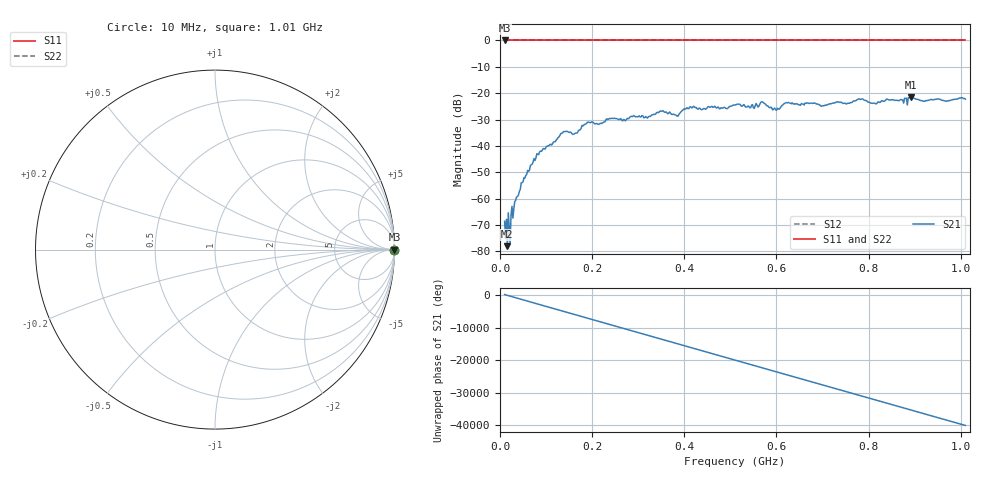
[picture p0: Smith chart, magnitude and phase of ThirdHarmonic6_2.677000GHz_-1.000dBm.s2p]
! 8/17/2025 6:16:12 AM
! C:\ANRITSUVNA\TEMP\TEMP.S2P
! CHANNEL.1
! TR.MEASUREMENT
! RAW.DATA
! RF.CORRECTION.OFF
! AVERAGING.OFF
! IF.BANDWIDTH: 5KHZ
! SWEEPTYPE:  FREQ.SWEEP(Linear)
! Reference Plane Port Info
! PORT:  PORT1  PORT2
! DISTANCE:  0  m  0  m
! TIME:  0  s  0  s
! PHASE.OFFSET:  0  deg.  0  deg.
! LOSS:  0  dB  0  dB
! REF.LOSS:  0  dB  0  dB
! REF.FREQ:  0  Hz  0  Hz
! Power Info
! POWER:  -20  dBm  -20  dBm
! EFF.POWER:  -20  dBm  -20  dBm
! SOURCE.ATTEN:  0  dB  0  dB
! TEST.ATTEN:  0  dB  0  dB
# GHZ S RI R 50.0
! FREQ.GHZ  S11RE  S11IM  S21RE  S21IM  S12RE  S12IM  S22RE  S22IM
!; PortSelection: Port_12
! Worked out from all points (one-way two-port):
!   501 points, 10 MHz to 1.01 GHz, reference 50 ohm
!   highest |S21| = -21.57 dB at 892 MHz (marker M1); lowest = -78.1 dB at 16 MHz (marker M2)
!   lowest |S11| = 0.0 dB at 10 MHz (marker M3)
!   |S11| at or under -10 dB: nowhere
!   |S22| runs from 0.0 to 0.0 dB; largest |S21 - S12| = 1.1
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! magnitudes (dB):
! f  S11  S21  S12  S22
! 10 MHz  0.0  -68.6  0.0  0.0
! 16 MHz  0.0  -78.1  0.0  0.0
! 20 MHz  0.0  -71.3  0.0  0.0
! 22 MHz  0.0  -76.8  0.0  0.0
! 26 MHz  0.0  -63.0  0.0  0.0
! 28 MHz  0.0  -67.4  0.0  0.0
! 50 MHz  0.0  -53.6  0.0  0.0
! 84 MHz  0.0  -43.3  0.0  0.0
! 136 MHz  0.0  -35.0  0.0  0.0
! 162 MHz  0.0  -35.3  0.0  0.0
! 178 MHz  0.0  -32.2  0.0  0.0
! 344 MHz  0.0  -27.4  0.0  0.0
! 384 MHz  0.0  -28.7  0.0  0.0
! 416 MHz  0.0  -25.6  0.0  0.0
! 510 MHz  0.0  -24.5  0.0  0.0
! 570 MHz  0.0  -23.4  0.0  0.0
! 596 MHz  0.0  -25.7  0.0  0.0
! 622 MHz  0.0  -23.6  0.0  0.0
! 678 MHz  0.0  -23.9  0.0  0.0
! 844 MHz  0.0  -22.6  0.0  0.0
! 892 MHz  0.0  -21.6  0.0  0.0
! 1.01 GHz  0.0  -22.3  0.0  0.0
